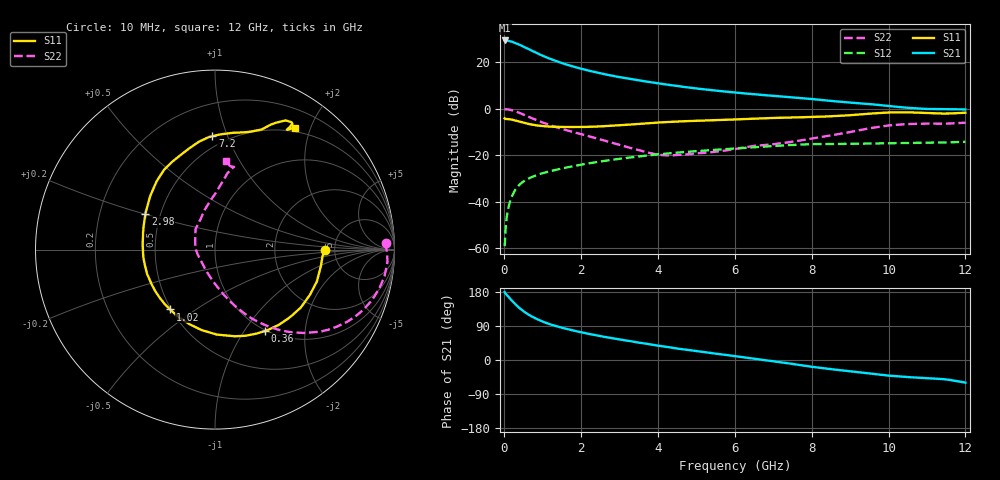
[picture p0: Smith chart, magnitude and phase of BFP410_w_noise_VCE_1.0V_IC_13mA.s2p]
! Infineon Technologies  Discrete & RF Semiconductors
! BFP410
! VCE =  1.0 V,  IC =  13 mA
! Common Emitter S-Parameters:  Nov 2015
# GHz  S  MA  R  50
!  f  S11  S21  S12  S22
! GHz  MAG  ANG  MAG  ANG  MAG  ANG  MAG  ANG
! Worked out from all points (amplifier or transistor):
!   243 points, 10 MHz to 12 GHz, reference 50 ohm
!   highest |S21| = 29.2 dB at 20 MHz (marker M1)
!   |S21| within 3 dB of that: start of sweep to 540.8 MHz
!   unconditionally stable (mu >= 1): 2.092 GHz to end of sweep
!   at 240 MHz: K = 0.22, MSG = 32.4 dB, |S12| = -36.4 dB
!   at 1.84 GHz: K = 0.94, MSG = 21.2 dB, |S12| = -24.6 dB
!   at 12 GHz: K = 1.02, MAG = 6.1 dB, |S12| = -14.3 dB
!   lowest NFmin = 1.42 dB at 900 MHz
!   S11 on the Smith chart (normalised r, x): 10 MHz: 4.17, -0.04; 360 MHz: 0.99, -1.25; 1.02 GHz: 0.49, -0.40; 2.98 GHz: 0.41, +0.20; 7.2 GHz: 0.42, +0.88; 12 GHz: 0.44, +1.76
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0.01  0.6135 -0.3  28.71 179.4  0.0011 96.5  0.9509 2.2
0.02  0.6002 -3.4  29 177.4  0.0014 91.8  0.959 -1.1
0.1  0.5947 -17.4  28.56 168.0  0.0068 83.3  0.9561 -8.9
0.2  0.5768 -34.0  27.27 156.5  0.013 76.0  0.9189 -17.8
0.3  0.5501 -49.6  25.45 146.0  0.0185 70.2  0.8644 -25.7
0.36  0.5325 -58.3  24.23 140.4  0.0213 67.2  0.8276 -29.8
0.5  0.4954 -77.1  21.36 128.7  0.0271 61.6  0.7403 -38.2
0.6  0.4737 -88.7  19.42 121.6  0.0304 58.7  0.6811 -43.0
0.7  0.4546 -99.4  17.7 115.6  0.0333 56.5  0.6284 -47.2
0.88  0.4296 -115.7  15.06 106.5  0.0379 53.7  0.547 -53.3
1.02  0.4168 -126.9  13.38 100.6  0.0411 52.1  0.493 -57.3
1.2  0.4084 -139.1  11.64 93.9  0.0452 50.7  0.4366 -61.8
1.4  0.403 -150.5  10.09 87.7  0.0493 49.6  0.3855 -65.8
1.7  0.4004 -164.7  8.409 79.9  0.0557 48.0  0.3274 -71.0
2.02  0.4014 -177.2  7.094 72.8  0.0626 46.5  0.279 -76.0
2.98  0.4359 152.8  4.755 54.6  0.0827 40.3  0.1665 -96.5
4.1  0.505 128.9  3.382 36.4  0.1053 31.7  0.1 -141.5
6.1  0.5865 103.1  2.167 8.9  0.1399 15.3  0.1387 142.1
7.2  0.6317 91.3  1.816 -6.1  0.1596 5.3  0.1789 119.3
8.2  0.6657 78.4  1.539 -20.2  0.1718 -5.9  0.2407 101.7
10.2  0.8241 60.1  1.091 -42.7  0.1793 -21.6  0.4449 79.6
12  0.8115 56.9  0.956 -59.7  0.1926 -35.9  0.4954 83.0
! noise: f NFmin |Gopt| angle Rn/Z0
0.45  1.45  0.03  -118  0.16
0.9  1.42  0.02  -123  0.16
1.8  1.53  0.08  -148  0.16
2.4  1.53  0.14  -128  0.21
5.5  2.4  0.38  -109  0.32
10  3.52  0.68  -48  2.04
